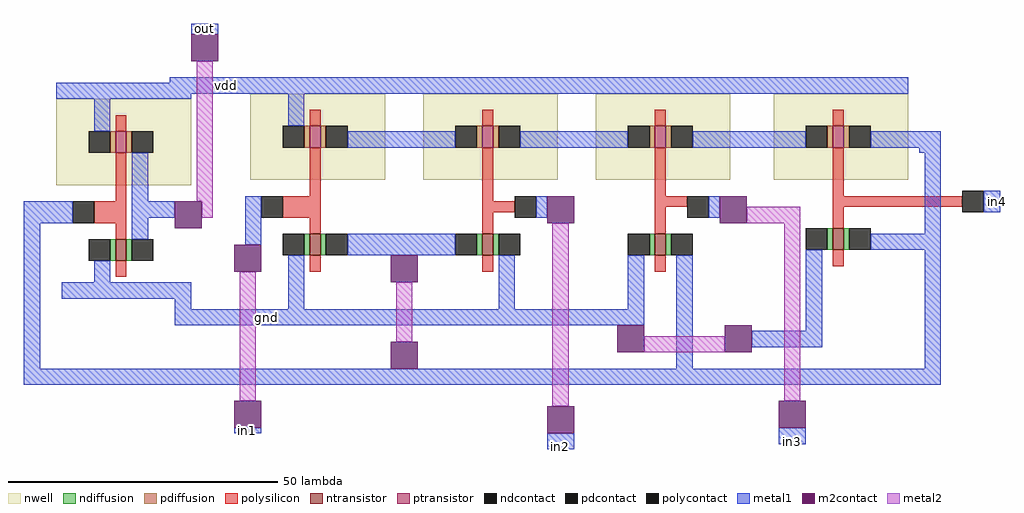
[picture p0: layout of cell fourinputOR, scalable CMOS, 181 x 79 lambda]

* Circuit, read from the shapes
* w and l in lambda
.subckt fourinputOR gnd in1 in2 in3 in4 out vdd
M1 out not_0/in gnd VSUBS nfet w=4 l=2
M2 not_0/in in1 gnd VSUBS nfet w=4 l=2
M3 gnd in2 not_0/in VSUBS nfet w=4 l=2
M4 not_0/in in3 gnd VSUBS nfet w=4 l=2
M5 not_0/in in4 gnd VSUBS nfet w=4 l=2
M6 out not_0/in vdd n1 pfet w=4 l=2
M7 n2 in1 vdd n3 pfet w=4 l=2
M8 n4 in2 n2 n5 pfet w=4 l=2
M9 n6 in3 n4 n7 pfet w=4 l=2
M10 not_0/in in4 n6 n8 pfet w=4 l=2
.ends

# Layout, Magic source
magic
tech scmos
<< metal1 >>
rect -10 74 -5 76
rect -14 63 1 66
rect -41 39 -34 43
rect -41 12 -38 39
rect 139 41 140 45
rect 0 35 3 40
rect -13 23 -10 25
rect -13 20 8 23
rect -41 9 27 12
rect -2 0 3 1
rect 99 -2 104 -1
rect 56 -3 61 -2
<< m2contact >>
rect -10 69 -5 74
rect -13 38 -8 43
rect -2 30 3 35
rect -2 1 3 6
<< metal2 >>
rect -9 43 -6 69
rect -8 40 -6 43
rect -1 6 2 30
use not  not_0
transform 1 0 -35 0 1 46
box 0 -21 25 19
use fourinputNOR  fourinputNOR_0
transform 1 0 1 0 1 47
box -1 -49 138 19
<< labels >>
rlabel metal1 56 -3 61 -2 1 in2
rlabel metal1 99 -2 104 -1 1 in3
rlabel metal1 139 41 140 45 7 in4
rlabel metal1 -8 63 1 66 5 vdd
rlabel metal1 0 20 8 23 1 gnd
rlabel metal1 -10 74 -5 76 5 out
rlabel metal1 -2 0 3 1 1 in1
<< end >>

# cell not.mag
magic
tech scmos
<< nwell >>
rect 0 0 25 16
<< ntransistor >>
rect 11 -14 13 -10
<< ptransistor >>
rect 11 6 13 10
<< ndiffusion >>
rect 10 -14 11 -10
rect 13 -14 14 -10
<< pdiffusion >>
rect 10 6 11 10
rect 13 6 14 10
<< ndcontact >>
rect 6 -14 10 -10
rect 14 -14 18 -10
<< pdcontact >>
rect 6 6 10 10
rect 14 6 18 10
<< polysilicon >>
rect 11 10 13 13
rect 11 -3 13 6
rect 7 -7 13 -3
rect 11 -10 13 -7
rect 11 -17 13 -14
<< polycontact >>
rect 3 -7 7 -3
<< metal1 >>
rect 0 16 25 19
rect 7 10 10 16
rect 14 -3 17 6
rect 1 -7 3 -3
rect 14 -6 22 -3
rect 14 -10 17 -6
rect 7 -18 10 -14
rect 1 -21 25 -18
<< labels >>
rlabel metal1 0 16 25 19 5 vdd
rlabel metal1 17 -6 22 -3 1 out
rlabel metal1 1 -7 3 -3 3 in
rlabel metal1 1 -21 25 -18 1 gnd
<< end >>

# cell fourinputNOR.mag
magic
tech scmos
<< nwell >>
rect 0 0 25 16
rect 32 0 57 16
rect 64 0 89 16
rect 97 0 122 16
<< ntransistor >>
rect 11 -14 13 -10
rect 43 -14 45 -10
rect 75 -14 77 -10
rect 108 -13 110 -9
<< ptransistor >>
rect 11 6 13 10
rect 43 6 45 10
rect 75 6 77 10
rect 108 6 110 10
<< ndiffusion >>
rect 10 -14 11 -10
rect 13 -14 14 -10
rect 42 -14 43 -10
rect 45 -14 46 -10
rect 74 -14 75 -10
rect 77 -14 78 -10
rect 107 -13 108 -9
rect 110 -13 111 -9
<< pdiffusion >>
rect 10 6 11 10
rect 13 6 14 10
rect 42 6 43 10
rect 45 6 46 10
rect 74 6 75 10
rect 77 6 78 10
rect 107 6 108 10
rect 110 6 111 10
<< ndcontact >>
rect 6 -14 10 -10
rect 14 -14 18 -10
rect 38 -14 42 -10
rect 46 -14 50 -10
rect 70 -14 74 -10
rect 78 -14 82 -10
rect 103 -13 107 -9
rect 111 -13 115 -9
<< pdcontact >>
rect 6 6 10 10
rect 14 6 18 10
rect 38 6 42 10
rect 46 6 50 10
rect 70 6 74 10
rect 78 6 82 10
rect 103 6 107 10
rect 111 6 115 10
<< polysilicon >>
rect 11 10 13 13
rect 43 10 45 13
rect 75 10 77 13
rect 108 10 110 13
rect 11 -3 13 6
rect 6 -7 13 -3
rect 11 -10 13 -7
rect 43 -4 45 6
rect 75 -3 77 6
rect 108 -3 110 6
rect 43 -6 49 -4
rect 43 -10 45 -6
rect 75 -5 81 -3
rect 75 -10 77 -5
rect 108 -5 132 -3
rect 108 -9 110 -5
rect 11 -17 13 -14
rect 43 -17 45 -14
rect 75 -17 77 -14
rect 108 -16 110 -13
<< polycontact >>
rect 2 -7 6 -3
rect 49 -7 53 -3
rect 81 -7 85 -3
rect 132 -6 136 -2
<< metal1 >>
rect 0 16 122 19
rect 7 10 10 16
rect 18 6 38 9
rect 50 6 70 9
rect 82 6 103 9
rect 115 6 128 9
rect 124 5 128 6
rect -1 -7 2 -3
rect 53 -7 55 -3
rect 85 -7 87 -3
rect 18 -14 38 -10
rect 7 -24 10 -14
rect 46 -24 49 -14
rect 70 -24 73 -14
rect 7 -27 73 -24
rect 79 -35 82 -14
rect 125 -10 128 5
rect 136 -6 138 -2
rect 115 -13 128 -10
rect 103 -28 106 -13
rect 93 -31 106 -28
rect 125 -35 128 -13
rect 26 -38 128 -35
rect 55 -49 60 -47
rect 98 -48 103 -46
<< m2contact >>
rect 55 -8 60 -3
rect 87 -8 92 -3
rect 26 -19 31 -14
rect 26 -35 31 -30
rect 68 -32 73 -27
rect 88 -32 93 -27
rect 55 -47 60 -42
rect 98 -46 103 -41
<< metal2 >>
rect 92 -8 102 -5
rect 27 -30 30 -19
rect 56 -42 59 -8
rect 73 -32 88 -29
rect 99 -41 102 -8
<< labels >>
rlabel metal1 0 16 57 19 5 vdd
rlabel metal1 0 -7 2 -3 3 in1
rlabel space 0 -27 50 -24 1 gnd
rlabel metal1 7 -27 49 -24 1 gnd
rlabel metal1 7 -27 15 -24 1 gnd
rlabel metal1 25 16 33 19 5 vdd
rlabel metal1 31 -38 60 -35 1 out
rlabel metal1 57 16 89 19 5 vdd
rlabel metal1 136 -6 138 -2 7 in4
rlabel metal1 55 -49 60 -47 1 in2
rlabel metal1 98 -48 103 -46 1 in3
rlabel metal1 124 5 128 9 1 out
<< end >>
